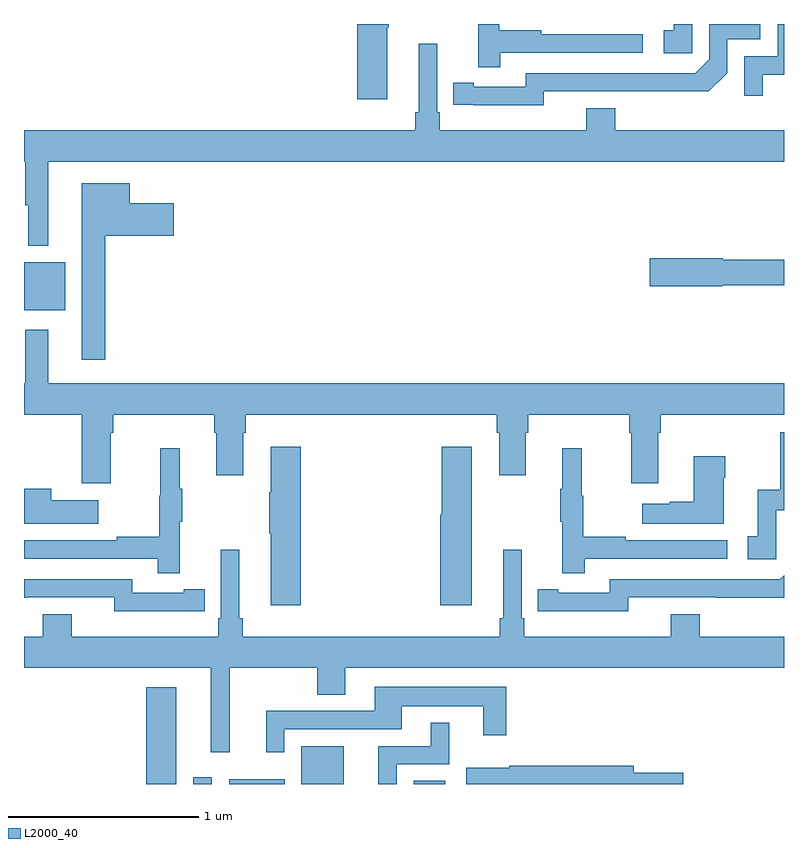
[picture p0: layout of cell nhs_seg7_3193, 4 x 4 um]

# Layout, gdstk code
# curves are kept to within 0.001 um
import gdstk
lib = gdstk.Library(unit=1e-6, precision=1e-09)
def R(c, l, rs):  # rectangles x0, y0, x1, y1
    for r in rs: c.add(gdstk.rectangle(r[:2], r[2:], *l))
def P(c, l, *ps):  # polygons
    for p in ps: c.add(gdstk.Polygon(p, *l))
L2000_40 = (2000, 40)

nhs_seg7_3193 = lib.new_cell('nhs_seg7_3193')
R(nhs_seg7_3193, L2000_40, [(315.644,1004,315.802,1004.509), (315.891,1004,315.987,1004.035), (316.079,1004,316.372,1004.026), (316.46,1004,316.684,1004.2), (317.051,1004,317.218,1004.018), (315,1006.493,315.217,1006.747)])
P(nhs_seg7_3193, L2000_40, [(318.889,1007.733),(319,1007.733),(319,1008),(318.966,1008),(318.966,1007.829),(318.792,1007.829),(318.792,1007.622),(318.889,1007.622)],
  [(317.736,1007.646),(318.604,1007.645),(318.702,1007.742),(318.702,1007.919),(318.876,1007.919),(318.876,1008),(318.606,1008),(318.606,1007.814),(318.534,1007.742),(317.64,1007.742),(317.64,1007.67),(317.368,1007.67),(317.368,1007.69),(317.26,1007.69),(317.26,1007.574),(317.736,1007.573)],
  [(317.507,1007.85),(318.256,1007.85),(318.256,1007.946),(317.723,1007.946),(317.723,1007.966),(317.5,1007.966),(317.5,1008),(317.39,1008),(317.39,1007.772),(317.507,1007.772)],
  [(316.912,1007.983),(316.92,1007.983),(316.92,1008),(316.754,1008),(316.754,1007.604),(316.912,1007.604)],
  [(318.516,1008),(318.419,1008),(318.419,1007.967),(318.366,1007.967),(318.366,1007.847),(318.516,1007.847)],
  [(315.127,1007.276),(319,1007.276),(319,1007.44),(318.113,1007.44),(318.113,1007.557),(317.96,1007.557),(317.96,1007.44),(317.189,1007.44),(317.189,1007.536),(317.175,1007.536),(317.175,1007.896),(317.078,1007.896),(317.078,1007.536),(317.059,1007.536),(317.059,1007.44),(315,1007.44),(315,1007.276),(315.006,1007.276),(315.006,1007.047),(315.023,1007.047),(315.023,1006.832),(315.127,1006.832)],
  [(315.427,1006.886),(315.787,1006.886),(315.787,1007.056),(315.556,1007.056),(315.556,1007.161),(315.305,1007.161),(315.305,1006.233),(315.427,1006.233)],
  [(318.678,1006.624),(319,1006.624),(319,1006.76),(318.678,1006.76),(318.678,1006.766),(318.294,1006.766),(318.294,1006.619),(318.678,1006.619)],
  [(315.457,1005.848),(315.47,1005.848),(315.47,1005.944),(316.001,1005.944),(316.001,1005.848),(316.013,1005.848),(316.013,1005.624),(316.153,1005.624),(316.153,1005.848),(316.166,1005.848),(316.166,1005.944),(317.489,1005.944),(317.489,1005.848),(317.501,1005.848),(317.501,1005.624),(317.641,1005.624),(317.641,1005.848),(317.654,1005.848),(317.654,1005.944),(318.185,1005.944),(318.185,1005.848),(318.197,1005.848),(318.197,1005.582),(318.337,1005.582),(318.337,1005.848),(318.35,1005.848),(318.35,1005.944),(319,1005.944),(319,1006.108),(315.127,1006.108),(315.127,1006.39),(315.006,1006.39),(315.006,1006.108),(315,1006.108),(315,1005.944),(315.305,1005.944),(315.305,1005.582),(315.457,1005.582)],
  [(318.96,1005.441),(319,1005.441),(319,1005.852),(318.981,1005.852),(318.981,1005.55),(318.863,1005.55),(318.863,1005.303),(318.81,1005.303),(318.81,1005.183),(318.96,1005.183)],
  [(317.356,1005.775),(317.198,1005.775),(317.198,1005.417),(317.192,1005.417),(317.192,1004.94),(317.356,1004.94)],
  [(316.457,1005.775),(316.298,1005.775),(316.298,1005.536),(316.291,1005.536),(316.291,1005.319),(316.298,1005.319),(316.298,1004.94),(316.457,1004.94)],
  [(317.951,1005.186),(318.7,1005.186),(318.7,1005.282),(318.167,1005.282),(318.167,1005.302),(317.944,1005.302),(317.944,1005.516),(317.936,1005.516),(317.936,1005.766),(317.834,1005.766),(317.834,1005.553),(317.823,1005.553),(317.823,1005.379),(317.834,1005.379),(317.834,1005.108),(317.951,1005.108)],
  [(315.821,1005.379),(315.832,1005.379),(315.832,1005.553),(315.821,1005.553),(315.821,1005.766),(315.718,1005.766),(315.718,1005.516),(315.711,1005.516),(315.711,1005.302),(315.487,1005.302),(315.487,1005.282),(315,1005.282),(315,1005.186),(315.703,1005.186),(315.703,1005.108),(315.821,1005.108)],
  [(318.682,1005.611),(318.69,1005.611),(318.69,1005.724),(318.524,1005.724),(318.524,1005.485),(318.398,1005.485),(318.398,1005.475),(318.255,1005.475),(318.255,1005.371),(318.682,1005.371)],
  [(315.391,1005.493),(315.143,1005.493),(315.143,1005.553),(315,1005.553),(315,1005.371),(315.391,1005.371)],
  [(316.082,1004.612),(316.543,1004.612),(316.543,1004.47),(316.69,1004.47),(316.69,1004.612),(319,1004.612),(319,1004.776),(318.557,1004.776),(318.557,1004.893),(318.404,1004.893),(318.404,1004.776),(317.633,1004.776),(317.633,1004.872),(317.619,1004.872),(317.619,1005.232),(317.522,1005.232),(317.522,1004.872),(317.503,1004.872),(317.503,1004.776),(316.151,1004.776),(316.151,1004.872),(316.132,1004.872),(316.132,1005.232),(316.035,1005.232),(316.035,1004.872),(316.022,1004.872),(316.022,1004.776),(315.25,1004.776),(315.25,1004.893),(315.098,1004.893),(315.098,1004.776),(315,1004.776),(315,1004.612),(315.983,1004.612),(315.983,1004.166),(316.082,1004.166)],
  [(318.18,1004.982),(319,1004.981),(319,1005.1),(318.978,1005.078),(318.084,1005.078),(318.084,1005.006),(317.812,1005.006),(317.812,1005.026),(317.704,1005.026),(317.704,1004.91),(318.18,1004.909)],
  [(315.842,1004.91),(315.95,1004.91),(315.95,1005.026),(315.842,1005.026),(315.842,1005.006),(315.57,1005.006),(315.57,1005.078),(315,1005.078),(315,1004.981),(315.014,1004.981),(315.014,1004.982),(315.474,1004.982),(315.474,1004.909),(315.842,1004.909)],
  [(316.371,1004.289),(316.987,1004.289),(316.987,1004.408),(317.417,1004.408),(317.417,1004.256),(317.539,1004.256),(317.539,1004.512),(316.847,1004.512),(316.847,1004.385),(316.274,1004.385),(316.274,1004.166),(316.371,1004.166)],
  [(316.962,1004.103),(317.239,1004.103),(317.239,1004.323),(317.141,1004.323),(317.141,1004.199),(316.865,1004.199),(316.865,1004),(316.962,1004)],
  [(318.469,1004.06),(318.208,1004.06),(318.208,1004.096),(317.553,1004.096),(317.553,1004.086),(317.327,1004.086),(317.327,1004),(318.469,1004)])

lib.write_gds('nhs_seg7_3193.gds')
